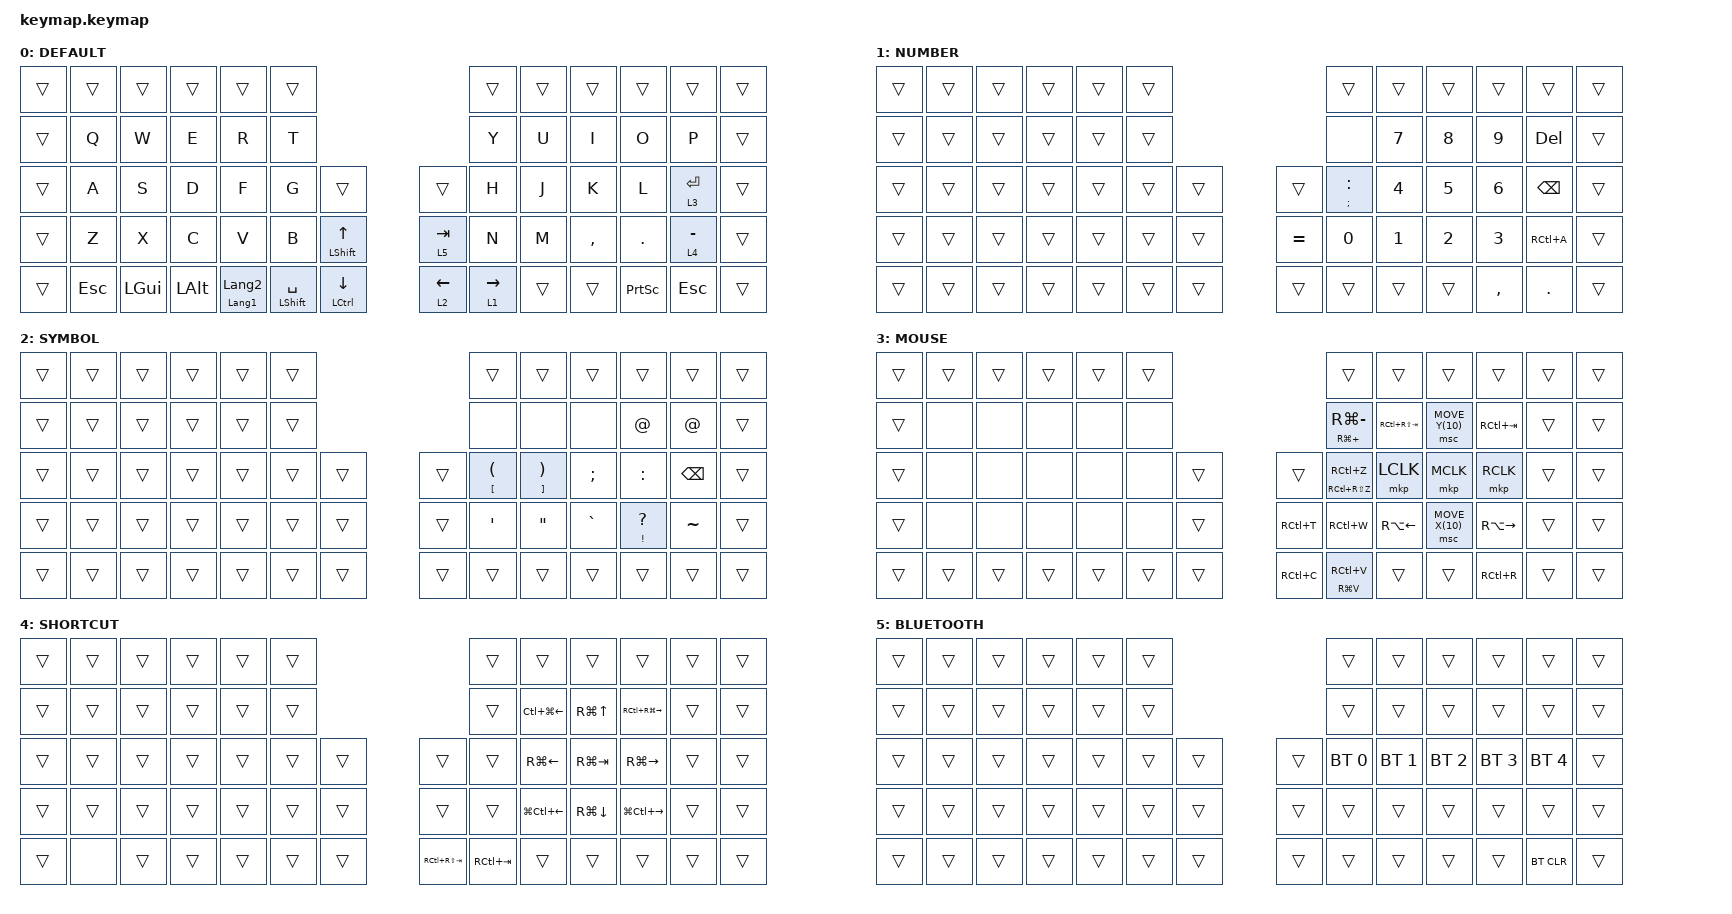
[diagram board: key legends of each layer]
#include <behaviors.dtsi>
#include <dt-bindings/zmk/bt.h>
#include <dt-bindings/zmk/keys.h>
#include <dt-bindings/zmk/pointing.h>

/ {
    combos {
        compatible = "zmk,combos";

        bt_clear {
            bindings = <&bt BT_CLR>;
            key-positions = <28 29>;
            layers = <3>;
        };
    };

    behaviors {
        new_behavior: new_behavior {
            compatible = "zmk,behavior-input-two-axis";
            label = "NEW_BEHAVIOR";
            #binding-cells = <1>;
            x-input-code = <9>;
            y-input-code = <8>;
            trigger-period-ms = <16>;
            time-to-max-speed-ms = <300>;
            acceleration-exponent = <1>;
        };
    };

    keymap {
        compatible = "zmk,keymap";

        DEFAULT {
            bindings = <
&trans  &trans      &trans    &trans    &trans                     &trans                                                     &trans       &trans  &trans     &trans           &trans       &trans
&trans  &kp Q       &kp W     &kp E     &kp R                      &kp T                                                      &kp Y        &kp U   &kp I      &kp O            &kp P        &trans
&trans  &kp A       &kp S     &kp D     &kp F                      &kp G                 &trans                   &trans      &kp H        &kp J   &kp K      &kp L            &lt 3 ENTER  &trans
&trans  &kp Z       &kp X     &kp C     &kp V                      &kp B                 &mt LEFT_SHIFT UP_ARROW  &lt 5 TAB   &kp N        &kp M   &kp COMMA  &kp DOT          &lt 4 MINUS  &trans
&trans  &kp ESCAPE  &kp LGUI  &kp LALT  &mt LANGUAGE_1 LANGUAGE_2  &mt LEFT_SHIFT SPACE  &mt LEFT_CONTROL DOWN    &lt 2 LEFT  &lt 1 RIGHT  &trans  &trans     &kp PRINTSCREEN  &kp ESCAPE   &trans
            >;
        };

        NUMBER {
            bindings = <
&trans  &trans  &trans  &trans  &trans  &trans                     &trans               &trans        &trans        &trans        &trans         &trans
&trans  &trans  &trans  &trans  &trans  &trans                     &none                &kp NUMBER_7  &kp NUMBER_8  &kp NUMBER_9  &kp DELETE     &trans
&trans  &trans  &trans  &trans  &trans  &trans  &trans  &trans     &mt SEMICOLON COLON  &kp NUMBER_4  &kp NUMBER_5  &kp NUMBER_6  &kp BACKSPACE  &trans
&trans  &trans  &trans  &trans  &trans  &trans  &trans  &kp EQUAL  &kp NUMBER_0         &kp NUMBER_1  &kp NUMBER_2  &kp NUMBER_3  &kp RC(A)      &trans
&trans  &trans  &trans  &trans  &trans  &trans  &trans  &trans     &trans               &trans        &trans        &kp COMMA     &kp PERIOD     &trans
            >;
        };

        SYMBOL {
            bindings = <
&trans  &trans  &trans  &trans  &trans  &trans                  &trans                             &trans                               &trans         &trans                    &trans         &trans
&trans  &trans  &trans  &trans  &trans  &trans                  &none                              &none                                &none          &kp AT_SIGN               &kp AT_SIGN    &trans
&trans  &trans  &trans  &trans  &trans  &trans  &trans  &trans  &mt LEFT_BRACKET LEFT_PARENTHESIS  &mt RIGHT_BRACKET RIGHT_PARENTHESIS  &kp SEMICOLON  &kp COLON                 &kp BACKSPACE  &trans
&trans  &trans  &trans  &trans  &trans  &trans  &trans  &trans  &kp SINGLE_QUOTE                   &kp DQT                              &kp GRAVE      &mt EXCLAMATION QUESTION  &kp TILDE      &trans
&trans  &trans  &trans  &trans  &trans  &trans  &trans  &trans  &trans                             &trans                               &trans         &trans                    &trans         &trans
            >;
        };

        MOUSE {
            bindings = <
&trans  &trans  &trans  &trans  &trans  &trans                     &trans                  &trans              &trans           &trans               &trans  &trans
&trans  &none   &none   &none   &none   &none                      &mt RG(PLUS) RG(MINUS)  &kp RC(RS(TAB))     &msc MOVE_Y(10)  &kp RC(TAB)          &trans  &trans
&trans  &none   &none   &none   &none   &none   &trans  &trans     &mt RC(RS(Z)) RC(Z)     &mkp LCLK           &mkp MCLK        &mkp RCLK            &trans  &trans
&trans  &none   &none   &none   &none   &none   &trans  &kp RC(T)  &kp RC(W)               &kp RA(LEFT_ARROW)  &msc MOVE_X(10)  &kp RA(RIGHT_ARROW)  &trans  &trans
&trans  &trans  &trans  &trans  &trans  &trans  &trans  &kp RC(C)  &mt RG(V) RC(V)         &trans              &trans           &kp RC(R)            &trans  &trans
            >;
        };

        SHORTCUT {
            bindings = <
&trans  &trans  &trans  &trans  &trans  &trans                           &trans       &trans              &trans              &trans                   &trans  &trans
&trans  &trans  &trans  &trans  &trans  &trans                           &trans       &kp LC(LG(LEFT))    &kp RG(UP_ARROW)    &kp RC(RG(RIGHT_ARROW))  &trans  &trans
&trans  &trans  &trans  &trans  &trans  &trans  &trans  &trans           &trans       &kp RG(LEFT_ARROW)  &kp RG(TAB)         &kp RG(RIGHT)            &trans  &trans
&trans  &trans  &trans  &trans  &trans  &trans  &trans  &trans           &trans       &kp LG(LC(LEFT))    &kp RG(DOWN_ARROW)  &kp LG(LC(RIGHT_ARROW))  &trans  &trans
&trans  &none   &trans  &trans  &trans  &trans  &trans  &kp RC(RS(TAB))  &kp RC(TAB)  &trans              &trans              &trans                   &trans  &trans
            >;
        };

        BLUETOOTH {
            bindings = <
&trans  &trans  &trans  &trans  &trans  &trans                  &trans        &trans        &trans        &trans        &trans        &trans
&trans  &trans  &trans  &trans  &trans  &trans                  &trans        &trans        &trans        &trans        &trans        &trans
&trans  &trans  &trans  &trans  &trans  &trans  &trans  &trans  &bt BT_SEL 0  &bt BT_SEL 1  &bt BT_SEL 2  &bt BT_SEL 3  &bt BT_SEL 4  &trans
&trans  &trans  &trans  &trans  &trans  &trans  &trans  &trans  &trans        &trans        &trans        &trans        &trans        &trans
&trans  &trans  &trans  &trans  &trans  &trans  &trans  &trans  &trans        &trans        &trans        &trans        &bt BT_CLR    &trans
            >;
        };
    };
};
